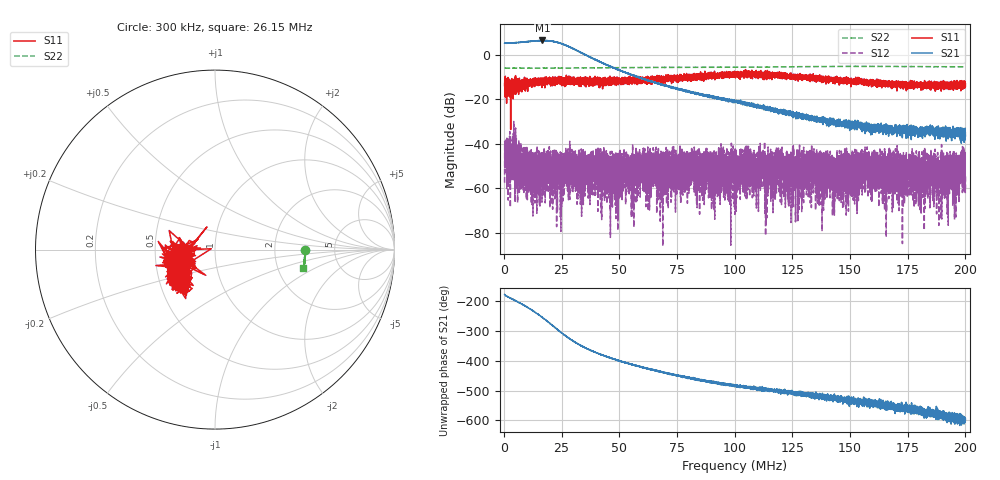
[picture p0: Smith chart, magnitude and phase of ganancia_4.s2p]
# Hz S DB R 50
! CMT, M5065, 19127446, 24.2.4/2
! Date: 11/8/2024 2:38:59 PM
! Data: Format (Calibration Info)
! Freq	S11:dB/Ang(F2)	S21:dB/Ang(F2)	S12:dB/Ang(F2)	S22:dB/Ang(F2)
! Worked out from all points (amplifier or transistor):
!   9000 points, 300 kHz to 200 MHz, reference 50 ohm
!   highest |S21| = 6.5 dB at 16.7 MHz (marker M1)
!   |S21| within 3 dB of that: start of sweep to 28.54 MHz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
!   unconditionally stable (mu >= 1): start of sweep to end of sweep
!   at 33.59 MHz: K = 107.48, MAG = 2.4 dB, |S12| = -50.6 dB
!   at 100.2 MHz: K = 2472.46, MAG = -19.0 dB, |S12| = -56.9 dB
!   at 200 MHz: K = 22570.75, MAG = -34.8 dB, |S12| = -60.0 dB
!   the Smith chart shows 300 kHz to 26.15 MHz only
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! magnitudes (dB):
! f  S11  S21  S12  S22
! 300 kHz  -12.8  5.2  -57.5  -6.0
! 1.343 MHz  -12.4  5.2  -48.1  -6.0
! 3.296 MHz  -15.6  5.2  -56.0  -6.0
! 14.9 MHz  -13.1  6.4  -50.5  -6.0
! 16.7 MHz  -10.8  6.5  -46.7  -6.0
! 33.59 MHz  -12.7  0.9  -50.6  -5.9
! 48.57 MHz  -13.0  -6.3  -53.1  -5.8
! 52.65 MHz  -11.1  -7.8  -56.0  -5.8
! 56.16 MHz  -12.3  -9.3  -53.4  -5.7
! 64.63 MHz  -10.6  -12.2  -53.4  -5.7
! 66.87 MHz  -13.0  -12.9  -46.7  -5.7
! 81.92 MHz  -10.1  -16.9  -46.3  -5.6
! 100.2 MHz  -9.3  -20.9  -56.9  -5.6
! 106.3 MHz  -9.1  -21.8  -54.4  -5.5
! 128.1 MHz  -10.4  -27.4  -45.5  -5.3
! 133.4 MHz  -10.2  -28.4  -50.6  -5.3
! 142.6 MHz  -10.9  -29.7  -59.3  -5.2
! 155.3 MHz  -11.5  -34.3  -63.0  -5.2
! 166.7 MHz  -12.9  -36.5  -49.5  -5.2
! 195 MHz  -14.2  -34.6  -57.9  -5.4
! 198.4 MHz  -11.6  -35.7  -45.9  -5.4
! 200 MHz  -13.0  -36.5  -60.0  -5.4
